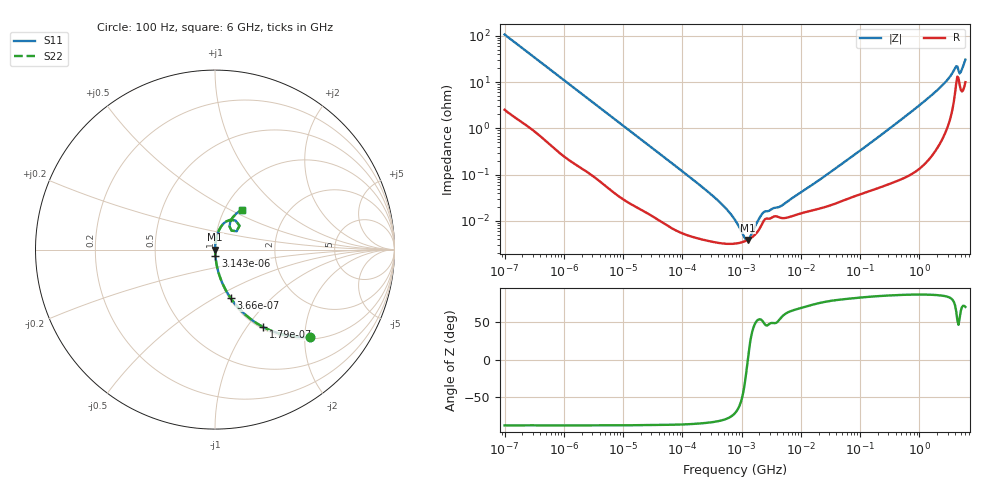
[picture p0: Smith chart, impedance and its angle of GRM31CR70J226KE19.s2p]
!Murata Part Number: GRM31CR70J226KE19
!These Parameters are Measured in Series Mode Connection
!Data Generated on Mar 30, 2021
!  o--ll--o
!Port1  Port2
!  o------o
!Operation Temp=25[degC], DC Bias Voltage=0[V]
!Freq. Start=100[Hz] Stop=6[GHz] 401[Steps]
# Hz S RI R 50
!Freq.(Hz) S11(Real) S11(Imag) S21(Real) S21(Imag) S12(Real) S12(Imag) S22(Real) S22(Imag)
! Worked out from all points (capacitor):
!   401 points, 100 Hz to 6 GHz, reference 50 ohm
!   read as one part in series: C = 14.9 uF near 109 Hz
!   lowest |Z| = 3.88 mohm at 1.268 MHz (marker M1)
!   series resonance near 1.274 MHz, so ESL is about 1.1 nH
!   S11 on the Smith chart (normalised r, x): 100 Hz: 1.05, -2.13; 179 Hz: 1.03, -1.20; 366 Hz: 1.01, -0.59; 3.143 kHz: 1.00, -0.07; 6 GHz: 1.20, +0.57
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100  0.5317 -0.4873  0.4683 0.4873  0.4683 0.4873  0.5317 -0.4873
179  0.2702 -0.432  0.7298 0.432  0.7298 0.432  0.2702 -0.432
366  0.0868 -0.2693  0.9132 0.2693  0.9132 0.2693  0.0868 -0.2693
820  0.0206 -0.1312  0.9794 0.1312  0.9794 0.1312  0.0206 -0.1312
2008  0.00441 -0.0552  0.9956 0.0552  0.9956 0.0552  0.00441 -0.0552
3143  0.00219 -0.0356  0.9978 0.0356  0.9978 0.0356  0.00219 -0.0356
40335  0.000111 -0.0029  0.9999 0.0029  0.9999 0.0029  0.000111 -0.0029
330837  3.53e-05 -0.000342  1 0.000342  1 0.000342  3.53e-05 -0.000342
517687  3.23e-05 -0.000197  1 0.000197  1 0.000197  3.23e-05 -0.000197
774597  3.24e-05 -0.0001  1 0.0001  1 0.0001  3.24e-05 -0.0001
885955  3.32e-05 -7.19e-05  1 7.19e-05  1 7.19e-05  3.32e-05 -7.19e-05
1267578  3.88e-05 -9e-07  1 9e-07  1 9e-07  3.88e-05 -9e-07
1813585  5.61e-05 7.23e-05  0.9999 -7.23e-05  0.9999 -7.23e-05  5.61e-05 7.23e-05
2372521  0.000101 0.000118  0.9999 -0.000118  0.9999 -0.000118  0.000101 0.000118
4643984  0.000116 0.000175  0.9999 -0.000175  0.9999 -0.000175  0.000116 0.000175
1.555665e7  0.000169 0.000577  0.9998 -0.000577  0.9998 -0.000577  0.000169 0.000577
3.124326e8  0.000724 0.00981  0.9993 -0.00981  0.9993 -0.00981  0.000724 0.00981
1.873145e9  0.00698 0.0609  0.993 -0.0609  0.993 -0.0609  0.00698 0.0609
3.205649e9  0.0282 0.1194  0.9718 -0.1194  0.9718 -0.1194  0.0282 0.1194
4.009986e9  0.0844 0.1654  0.9156 -0.1654  0.9156 -0.1654  0.0844 0.1654
5.016141e9  0.0814 0.1282  0.9186 -0.1282  0.9186 -0.1282  0.0814 0.1282
6e9  0.1487 0.2225  0.8513 -0.2225  0.8513 -0.2225  0.1487 0.2225
